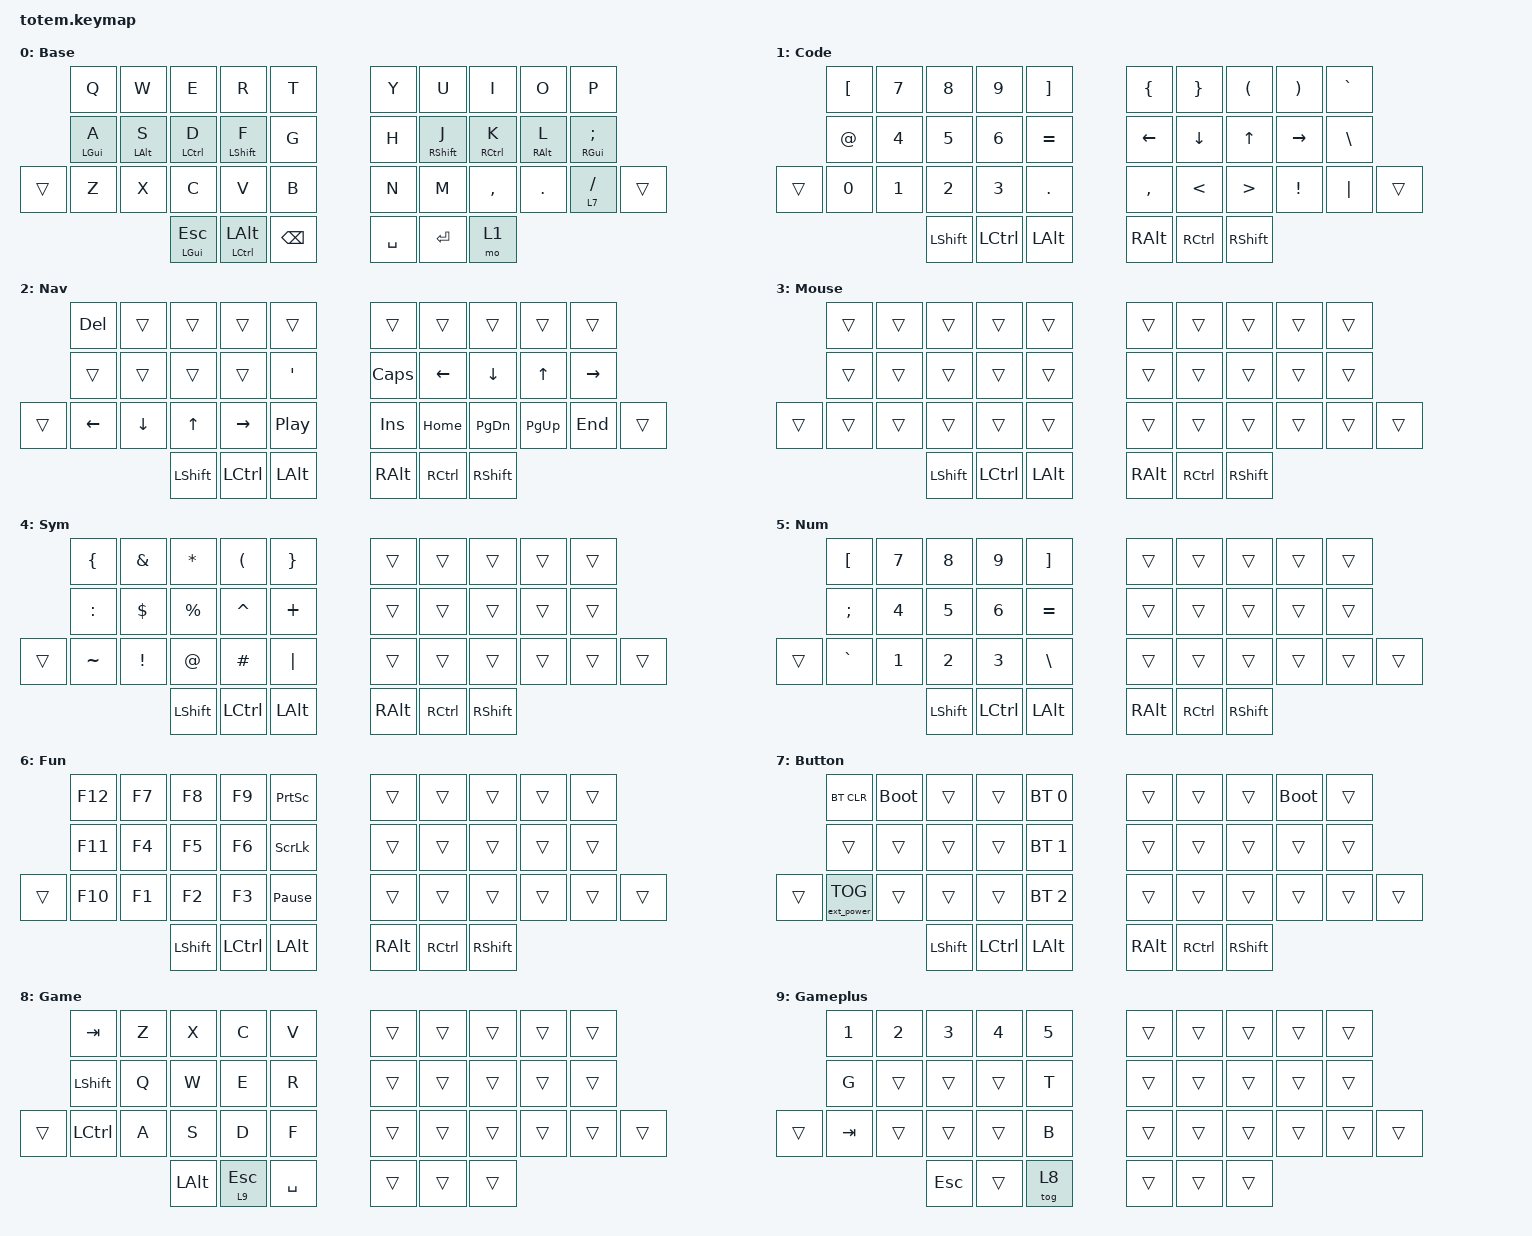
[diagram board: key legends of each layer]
//
//                                                        ▀▀▀▀▀     ▀▀▀▀▀          ▀▀█▀▀
//                                                        ▄▀▀▀▄  ▄  ▄▀▀▀▄  ▄  ▄▀▀▀▄  █  ▄▀▀▀▄
//                                                        █   █  █  █   █  █  █   █  █  █   █
//                                                         ▀▀▀   █   ▀▀▀   █   ▀▀▀   ▀   ▀▀▀
//                                                               █      ▄▄▄█▄▄▄    █   █
//                                                               ▀      █  █  █     █▄█
//                                                             ▀▀▀▀▀    █  █  █      ▀
//                                                                      ▀  ▀  ▀
//
// ▄▄▄▄▄▄▄▄▄▄▄▄▄▄▄▄▄▄▄▄▄▄▄▄▄▄▄▄▄▄▄▄▄▄▄▄▄▄▄▄▄▄▄▄▄▄▄▄▄▄▄▄▄▄▄▄▄▄▄▄▄▄▄▄▄▄▄▄▄▄▄▄▄▄▄▄▄▄▄▄▄▄▄▄▄▄▄▄▄▄▄▄▄▄▄▄▄▄▄▄▄▄▄▄▄▄▄▄▄▄▄▄▄▄▄▄▄▄▄▄▄▄▄▄▄▄▄▄▄▄▄▄▄▄▄▄▄▄▄▄▄▄▄▄▄▄▄▄▄

#include <behaviors.dtsi>
#include <dt-bindings/zmk/keys.h>
#include <dt-bindings/zmk/bt.h>
#include <dt-bindings/zmk/outputs.h>
#include <dt-bindings/zmk/ext_power.h>

#define Base        0
#define Code        1
#define Nav         2
#define Mouse       3
#define Sym         4
#define Num         5
#define Fun         6
#define Button      7
#define Game        8
#define Gameplus    9

&mt {
    quick-tap-ms = <100>;
    global-quick-tap;
    flavor = "tap-preferred";
    tapping-term-ms = <2000>;
};

&lt {
    tapping-term-ms = <2000>;
    flavor = "balanced";
    quick-tap-ms = <150>;
};

/ {

    behaviors {
        hm: homerow_mods {
            compatible = "zmk,behavior-hold-tap";
            label = "HOMEROW_MODS";
            #binding-cells = <2>;
            flavor = "tap-preferred";
            tapping-term-ms = <2000>;
            quick-tap-ms = <150>;
            global-quick-tap;
            bindings =
                <&kp>,
                <&kp>;
        };

        ge: gui_esc {
            compatible = "zmk,behavior-hold-tap";
            label = "GUI_ESC";
            #binding-cells = <2>;
            flavor = "tap-preferred";
            tapping-term-ms = <250>;
            quick-tap-ms = <150>;
            bindings =
                <&kp>,
                <&kp>;
        };

        ct: ctrl_tap {
            compatible = "zmk,behavior-hold-tap";
            label = "CTRL_TAP";
            #binding-cells = <2>;
            flavor = "tap-preferred";
            tapping-term-ms = <250>;
            quick-tap-ms = <150>;
            bindings =
                <&kp>,
                <&kp>;
        };
    };

    keymap {
        compatible = "zmk,keymap";

    Base {
        label = "Base";
        bindings = <
                &kp Q       &kp W       &kp E         &kp R         &kp T                         &kp Y        &kp U         &kp I       &kp O               &kp P
                &hm LGUI A  &hm LALT S  &hm LCTRL D   &hm LSHIFT F  &kp G                         &kp H        &hm RSHFT J   &hm RCTRL K  &hm RALT L  &hm RGUI SEMICOLON
        &trans  &kp Z       &kp X       &kp C         &kp V         &kp B                         &kp N        &kp M     &kp COMMA     &kp DOT         &lt 7 SLASH  &trans
                                        &ge LGUI ESCAPE  &ct LCTRL LALT &kp BACKSPACE      &kp SPACE      &kp ENTER   &mo 1
        >;
    };

    Code {
        label = "Code";
        bindings = <
                &kp LEFT_BRACKET  &kp NUMBER_7  &kp NUMBER_8  &kp NUMBER_9  &kp RIGHT_BRACKET       &kp LEFT_BRACE  &kp RIGHT_BRACE  &kp LEFT_PARENTHESIS  &kp RIGHT_PARENTHESIS  &kp GRAVE
                &kp AT_SIGN       &kp NUMBER_4  &kp NUMBER_5  &kp NUMBER_6  &kp EQUAL               &kp LEFT        &kp DOWN         &kp UP                 &kp RIGHT              &kp BACKSLASH
        &trans  &kp NUMBER_0      &kp NUMBER_1  &kp NUMBER_2  &kp NUMBER_3  &kp DOT                 &kp COMMA       &kp LT           &kp GT       &kp EXCL               &kp PIPE       &trans
                                                &kp LSHIFT    &kp LCTRL     &kp LALT               &kp RALT        &kp RCTRL        &kp RSHIFT
        >;
    };

    Nav {
        label = "Nav";
        bindings = <
                &kp DELETE    &trans    &trans     &trans      &trans                       &trans     &trans         &trans       &trans       &trans
                &trans        &trans    &trans     &trans      &kp SQT                    &kp CAPS   &kp LEFT       &kp DOWN       &kp UP    &kp RIGHT
        &trans  &kp LEFT      &kp DOWN  &kp UP     &kp RIGHT   &kp C_PLAY_PAUSE         &kp INSERT   &kp HOME  &kp PAGE_DOWN  &kp PAGE_UP      &kp END  &trans
                                        &kp LSHIFT &kp LCTRL   &kp LALT                &kp RALT    &kp RCTRL        &kp RSHIFT
        >;
    };

    Mouse {
        label = "Mouse";
        bindings = <
                &trans  &trans  &trans  &trans  &trans          &trans  &trans  &trans  &trans  &trans
                &trans  &trans  &trans  &trans  &trans          &trans  &trans  &trans  &trans  &trans
        &trans  &trans  &trans  &trans  &trans  &trans          &trans  &trans  &trans  &trans  &trans  &trans
                                &kp LSHIFT &kp LCTRL &kp LALT       &kp RALT &kp RCTRL &kp RSHIFT
        >;
    };

    Sym {
        label = "Sym";
        bindings = <
                &kp LEFT_BRACE  &kp AMPERSAND  &kp ASTERISK         &kp LEFT_PARENTHESIS   &kp RIGHT_BRACE       &trans      &trans     &trans    &trans    &trans
                &kp COLON       &kp DOLLAR     &kp PERCENT          &kp CARET              &kp PLUS              &trans      &trans     &trans    &trans    &trans
        &trans  &kp TILDE       &kp EXCL       &kp AT_SIGN          &kp HASH               &kp PIPE              &trans      &trans     &trans    &trans    &trans  &trans
                                              &kp LSHIFT            &kp LCTRL              &kp LALT              &kp RALT    &kp RCTRL   &kp RSHIFT
        >;
    };

    Num {
        label = "Num";
        bindings = <
                &kp LEFT_BRACKET  &kp NUMBER_7  &kp NUMBER_8  &kp NUMBER_9  &kp RIGHT_BRACKET       &trans      &trans     &trans    &trans    &trans
                &kp SEMICOLON     &kp NUMBER_4  &kp NUMBER_5  &kp NUMBER_6  &kp EQUAL               &trans      &trans     &trans    &trans    &trans
        &trans  &kp GRAVE         &kp NUMBER_1  &kp NUMBER_2  &kp NUMBER_3  &kp BACKSLASH           &trans      &trans     &trans    &trans    &trans  &trans
                                                &kp LSHIFT   &kp LCTRL     &kp LALT                &kp RALT    &kp RCTRL   &kp RSHIFT
        >;
    };

    Fun {
        label = "Fun";
        bindings = <
                &kp F12     &kp F7   &kp F8      &kp F9   &kp PRINTSCREEN          &trans      &trans     &trans    &trans    &trans
                &kp F11     &kp F4   &kp F5      &kp F6   &kp SCROLLLOCK           &trans      &trans     &trans    &trans    &trans
        &trans  &kp F10     &kp F1   &kp F2      &kp F3   &kp PAUSE_BREAK          &trans      &trans     &trans    &trans    &trans  &trans
                                     &kp LSHIFT &kp LCTRL &kp LALT                 &kp RALT    &kp RCTRL   &kp RSHIFT
        >;
    };

    Button {
        label = "Button";
        bindings = <
                &bt BT_CLR         &bootloader  &trans     &trans      &bt BT_SEL 0         &trans      &trans     &trans  &bootloader    &trans
                &trans            &trans      &trans    &trans     &bt BT_SEL 1         &trans      &trans     &trans       &trans    &trans
        &trans  &ext_power EP_TOG  &trans       &trans     &trans      &bt BT_SEL 2         &trans      &trans     &trans       &trans    &trans  &trans
                                                &kp LSHIFT &kp LCTRL   &kp LALT             &kp RALT    &kp RCTRL   &kp RSHIFT
        >;
    };

    Game {
        label = "Game";
        bindings = <
                &kp TAB         &kp Z  &kp X       &kp C         &kp V            &trans  &trans  &trans  &trans  &trans
                &kp LEFT_SHIFT  &kp Q  &kp W       &kp E         &kp R            &trans  &trans  &trans  &trans  &trans
        &trans  &kp LCTRL       &kp A  &kp S       &kp D         &kp F            &trans  &trans  &trans  &trans  &trans  &trans
                                       &kp LALT    &lt 9 ESCAPE  &kp SPACE        &trans  &trans  &trans
        >;
    };

    Gameplus {
        label = "Gameplus";
        bindings = <
                &kp NUMBER_1  &kp NUMBER_2  &kp NUMBER_3  &kp NUMBER_4  &kp NUMBER_5        &trans  &trans  &trans  &trans  &trans
                &kp G         &trans        &trans        &trans        &kp T               &trans  &trans  &trans  &trans  &trans
        &trans  &kp TAB       &trans        &trans        &trans        &kp B               &trans  &trans  &trans  &trans  &trans  &trans
                                            &kp ESCAPE    &trans        &tog 8              &trans  &trans  &trans
        >;
    };
  };
};
